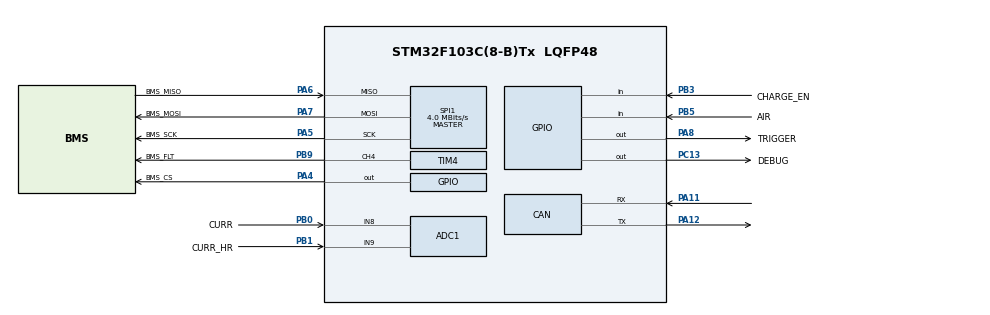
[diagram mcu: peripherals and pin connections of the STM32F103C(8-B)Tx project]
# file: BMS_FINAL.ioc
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ADC1.Channel-0\#ChannelRegularConversion=ADC_CHANNEL_8
ADC1.NbrOfConversionFlag=1
ADC1.Rank-0\#ChannelRegularConversion=1
ADC1.SamplingTime-0\#ChannelRegularConversion=ADC_SAMPLETIME_1CYCLE_5
ADC1.master=1
CAN.CalculateTimeBit=6000
CAN.CalculateTimeQuantum=2000.0
Mcu.Family=STM32F1
Mcu.Name=STM32F103C(8-B)Tx
Mcu.Package=LQFP48
NVIC.PriorityGroup=NVIC_PRIORITYGROUP_4
NVIC.TIM4_IRQn=true\:0\:0\:false\:false\:true\:true\:true
NVIC.USB_LP_CAN1_RX0_IRQn=true\:0\:0\:false\:false\:true\:true\:true
PA11.Mode=Master
PA11.Signal=CAN_RX
PA12.Mode=Master
PA12.Signal=CAN_TX
PA13.Signal=SYS_JTMS-SWDIO
PA14.Signal=SYS_JTCK-SWCLK
PA4.GPIO_Label=BMS_CS
PA4.Signal=GPIO_Output
PA5.GPIO_Label=BMS_SCK
PA5.Mode=Full_Duplex_Master
PA5.Signal=SPI1_SCK
PA6.GPIO_Label=BMS_MISO
PA6.Mode=Full_Duplex_Master
PA6.Signal=SPI1_MISO
PA7.GPIO_Label=BMS_MOSI
PA7.Mode=Full_Duplex_Master
PA7.Signal=SPI1_MOSI
PA8.GPIO_Label=TRIGGER
PA8.Signal=GPIO_Output
PB0.GPIO_Label=CURR
PB0.Signal=ADCx_IN8
PB1.GPIO_Label=CURR_HR
PB1.Signal=ADCx_IN9
PB3.GPIO_Label=CHARGE_EN
PB3.Signal=GPIO_Input
PB5.GPIO_Label=AIR
PB5.Signal=GPIO_Input
PB9.GPIO_Label=BMS_FLT
PB9.Signal=S_TIM4_CH4
PC13-TAMPER-RTC.GPIO_Label=DEBUG
PC13-TAMPER-RTC.Signal=GPIO_Output
PD1-OSC_OUT.GPIO_Label=FAN_PWM
PD1-OSC_OUT.Signal=RCC_OSC_OUT
ProjectManager.HeapSize=0x200
ProjectManager.StackSize=0x400
ProjectManager.TargetToolchain=Makefile
RCC.APB1Freq_Value=8000000
RCC.APB2Freq_Value=8000000
SH.ADCx_IN8.0=ADC1_IN8,IN8
SH.ADCx_IN9.0=ADC1_IN9,IN9
SH.S_TIM4_CH4.0=TIM4_CH4,Output Compare4 CH4
SPI1.CalculateBaudRate=4.0 MBits/s
SPI1.Direction=SPI_DIRECTION_2LINES
SPI1.Mode=SPI_MODE_MASTER
SPI1.VirtualType=VM_MASTER
TIM4.AutoReloadPreload=TIM_AUTORELOAD_PRELOAD_ENABLE
TIM4.Channel-Output\ Compare4\ CH4=TIM_CHANNEL_4
TIM4.OCMode_4=TIM_OCMODE_ACTIVE
TIM4.Period=6000
TIM4.Prescaler=40000
TIM4.Pulse-Output\ Compare4\ CH4=5000
TIM4.TIM_MasterOutputTrigger=TIM_TRGO_OC1REF
VP_SYS_VS_ND.Mode=No_Debug
VP_TIM2_VS_ClockSourceINT.Mode=Internal
VP_TIM4_VS_ClockSourceINT.Mode=Internal
board=custom

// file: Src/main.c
/* USER CODE BEGIN Header */
/**
  ******************************************************************************
  * @file           : main.c
  * @brief          : Main program body
  ******************************************************************************
  * @attention
  *
  * <h2><center>&copy; Copyright (c) 2019 STMicroelectronics.
  * All rights reserved.</center></h2>
  *
  * This software component is licensed by ST under BSD 3-Clause license,
  * the "License"; You may not use this file except in compliance with the
  * License. You may obtain a copy of the License at:
  *                        opensource.org/licenses/BSD-3-Clause
  *
  ******************************************************************************
  */
/* USER CODE END Header */

#include "main.h"

/* USER CODE BEGIN Includes */
#include "LTC6811.h"
/* USER CODE END Includes */

/* USER CODE BEGIN PD */
#define CELLVAL_ID      0x002
#define BMSSTAT_ID      0x003
#define BMSVINF_ID      0x004
#define BMSTINF_ID      0x005
#define PACKSTAT_ID     0x006
#define CHARGER_ID      0x02A

#define START           0
#define END             32
/* USER CODE END PD */

ADC_HandleTypeDef hadc1;

CAN_HandleTypeDef hcan;

SPI_HandleTypeDef hspi1;

TIM_HandleTypeDef htim2;
TIM_HandleTypeDef htim4;

/* USER CODE BEGIN PV */
CommandCodeTypedef      CommandCode;
BMSconfigStructTypedef  BMSconfig;

ADC_ChannelConfTypeDef sConfig = {0};

CAN_TxHeaderTypeDef     TxHeader;
CAN_RxHeaderTypeDef     RxHeader;
uint8_t                 TxData[8];
uint8_t                 RxData[8];
uint32_t                TxMailbox;

CAN_TxHeaderTypeDef     ChargerTxHeader;
uint8_t                 ChargerTxData[8];

uint8_t                 CELLVAL_DATA[6];
uint8_t                 BMSSTAT_DATA[6];

uint16_t volatile       minimum;
uint32_t                sumOfCells;
uint8_t                 chargeRate = 2;

/* USER CODE END PV */

void SystemClock_Config(void);
static void MX_GPIO_Init(void);
static void MX_ADC1_Init(void);
static void MX_CAN_Init(void);
static void MX_SPI1_Init(void);
static void MX_TIM2_Init(void);
static void MX_TIM4_Init(void);
/* USER CODE BEGIN PFP */
bool FAULT_check(BMSconfigStructTypedef cfg, uint8_t bmsData[96][6], uint8_t bmsStatus[6]);
void setDischarge(BMSconfigStructTypedef cfg, uint8_t bmsData[96][6], bool cellDischarge[12][8], bool bmsFault, bool fullDischarge[12][8]);
void checkDischarge(BMSconfigStructTypedef cfg, bool fullDischarge[12][8], uint8_t bmsData[96][6]);
uint16_t balancingThreshold(BMSconfigStructTypedef cfg);
void setChargerTxData(BMSconfigStructTypedef cfg);
void CELLVAL_message(BMSconfigStructTypedef cfg, uint8_t bmsData[96][6]);
void BMSVINF_message(BMSconfigStructTypedef cfg, uint8_t bmsData[96][6]);
void BMSTINF_message(BMSconfigStructTypedef cfg, uint8_t bmsData[96][6]);
void BMSSTAT_message(BMSconfigStructTypedef cfg, uint8_t bmsStatus[6]);
void PACKSTAT_message(BMSconfigStructTypedef cfg, uint8_t bmsData[96][6]);
/* USER CODE END PFP */

int main(void)
{

  /* MCU Configuration--------------------------------------------------------*/

  /* Reset of all peripherals, Initializes the Flash interface and the Systick. */
  HAL_Init();

  /* Configure the system clock */
  SystemClock_Config();

  /* Initialize all configured peripherals */
  MX_GPIO_Init();
  MX_ADC1_Init();
  MX_CAN_Init();
  MX_SPI1_Init();
  MX_TIM2_Init();
  MX_TIM4_Init();
  /* USER CODE BEGIN 2 */

  SPI_Init();
  initPECTable();
  loadConfig(&BMSconfig);

  uint8_t BMS_DATA[96][6];
  uint8_t BMS_STATUS[6];
  bool discharge[12][8];
  bool full_discharge[12][8];

  bool AIR = 0;
  bool CHARGE_EN = 0;
  bool BMS_FAULT = 0;

  /* USER CODE END 2 */

  /* Infinite loop */
  while (1)
  {

    /* USER CODE BEGIN 3 */

    //reset config registers
    writeConfigAll(BMSconfig);

    //wait 100ms
    HAL_Delay(100);

    //read all cell voltages, send BMSVINF message
    readAllCellVoltages(BMSconfig, BMS_DATA);
    BMSVINF_message(BMSconfig, BMS_DATA);

    //read all cell temps, send BMSTINF message
    readAllCellTemps(BMSconfig, BMS_DATA);
    BMSTINF_message(BMSconfig, BMS_DATA);

    checkAllCellConnections(BMSconfig, BMS_DATA);

    //if AIR and CHARGE_EN are low, pack is charging
    AIR = HAL_GPIO_ReadPin(GPIOB, AIR_Pin);
    CHARGE_EN = HAL_GPIO_ReadPin(GPIOB, CHARGE_EN_Pin);

    if(CHARGE_EN == 0){
      BMSconfig.UV_threshold = BMSconfig.LUV_threshold;
    } else {
      BMSconfig.UV_threshold = BMSconfig.HUV_threshold;
    }

    //check for faults (cell DC, cell OV, cell UV, cell OT, cell TDC, invalid PEC, no charger comm)
    BMS_FAULT = FAULT_check(BMSconfig, BMS_DATA, BMS_STATUS);

    if ((AIR == 0) && (CHARGE_EN == 0)) {

      if (chargeRate != 0)
        setDischarge(BMSconfig, BMS_DATA, discharge, BMS_FAULT, full_discharge);

      setChargerTxData(BMSconfig);

      if (chargeRate != 0) {
        dischargeCellGroups(BMSconfig, discharge);
        HAL_Delay(BMSconfig.dischargeTime);
      }
      else {
        checkDischarge(BMSconfig, full_discharge, BMS_DATA);
        dischargeCellGroups(BMSconfig, full_discharge);
        HAL_Delay(BMSconfig.dischargeTime);
      }
    }

    //send remaining CAN messages
    CELLVAL_message(BMSconfig, BMS_DATA);
    BMSSTAT_message(BMSconfig, BMS_STATUS);
    PACKSTAT_message(BMSconfig, BMS_DATA);

  }
  /* USER CODE END 3 */
}

void SystemClock_Config(void)
{
  RCC_OscInitTypeDef RCC_OscInitStruct = {0};
  RCC_ClkInitTypeDef RCC_ClkInitStruct = {0};
  RCC_PeriphCLKInitTypeDef PeriphClkInit = {0};

  /** Initializes the CPU, AHB and APB busses clocks
  */
  RCC_OscInitStruct.OscillatorType = RCC_OSCILLATORTYPE_HSI;
  RCC_OscInitStruct.HSIState = RCC_HSI_ON;
  RCC_OscInitStruct.HSICalibrationValue = RCC_HSICALIBRATION_DEFAULT;
  RCC_OscInitStruct.PLL.PLLState = RCC_PLL_NONE;
  if (HAL_RCC_OscConfig(&RCC_OscInitStruct) != HAL_OK)
  {
    Error_Handler();
  }
  /** Initializes the CPU, AHB and APB busses clocks
  */
  RCC_ClkInitStruct.ClockType = RCC_CLOCKTYPE_HCLK|RCC_CLOCKTYPE_SYSCLK
                              |RCC_CLOCKTYPE_PCLK1|RCC_CLOCKTYPE_PCLK2;
  RCC_ClkInitStruct.SYSCLKSource = RCC_SYSCLKSOURCE_HSI;
  RCC_ClkInitStruct.AHBCLKDivider = RCC_SYSCLK_DIV1;
  RCC_ClkInitStruct.APB1CLKDivider = RCC_HCLK_DIV1;
  RCC_ClkInitStruct.APB2CLKDivider = RCC_HCLK_DIV1;

  if (HAL_RCC_ClockConfig(&RCC_ClkInitStruct, FLASH_LATENCY_0) != HAL_OK)
  {
    Error_Handler();
  }
  PeriphClkInit.PeriphClockSelection = RCC_PERIPHCLK_ADC;
  PeriphClkInit.AdcClockSelection = RCC_ADCPCLK2_DIV2;
  if (HAL_RCCEx_PeriphCLKConfig(&PeriphClkInit) != HAL_OK)
  {
    Error_Handler();
  }
}

static void MX_ADC1_Init(void)
{

  ADC_ChannelConfTypeDef sConfig = {0};

  /** Common config
  */
  hadc1.Instance = ADC1;
  hadc1.Init.ScanConvMode = ADC_SCAN_DISABLE;
  hadc1.Init.ContinuousConvMode = DISABLE;
  hadc1.Init.DiscontinuousConvMode = DISABLE;
  hadc1.Init.ExternalTrigConv = ADC_SOFTWARE_START;
  hadc1.Init.DataAlign = ADC_DATAALIGN_RIGHT;
  hadc1.Init.NbrOfConversion = 1;
  if (HAL_ADC_Init(&hadc1) != HAL_OK)
  {
    Error_Handler();
  }
  /** Configure Regular Channel
  */
  sConfig.Channel = ADC_CHANNEL_8;
  sConfig.Rank = ADC_REGULAR_RANK_1;
  sConfig.SamplingTime = ADC_SAMPLETIME_1CYCLE_5;
  if (HAL_ADC_ConfigChannel(&hadc1, &sConfig) != HAL_OK)
  {
    Error_Handler();
  }

}

static void MX_CAN_Init(void)
{

  /* USER CODE BEGIN CAN_Init 1 */
  CAN_FilterTypeDef     sFilterConfig;
  /* USER CODE END CAN_Init 1 */
  hcan.Instance = CAN1;
  hcan.Init.Prescaler = 16;
  hcan.Init.Mode = CAN_MODE_NORMAL;
  hcan.Init.SyncJumpWidth = CAN_SJW_1TQ;
  hcan.Init.TimeSeg1 = CAN_BS1_1TQ;
  hcan.Init.TimeSeg2 = CAN_BS2_1TQ;
  hcan.Init.TimeTriggeredMode = DISABLE;
  hcan.Init.AutoBusOff = DISABLE;
  hcan.Init.AutoWakeUp = DISABLE;
  hcan.Init.AutoRetransmission = DISABLE;
  hcan.Init.ReceiveFifoLocked = DISABLE;
  hcan.Init.TransmitFifoPriority = DISABLE;
  if (HAL_CAN_Init(&hcan) != HAL_OK)
  {
    Error_Handler();
  }
  /* USER CODE BEGIN CAN_Init 2 */
  TxHeader.StdId = 0x321; 				// CAN standard ID
	TxHeader.ExtId = 0x01; 					// CAN extended ID
	TxHeader.RTR = CAN_RTR_DATA; 			// CAN frame type
	TxHeader.IDE = CAN_ID_STD; 				// CAN ID type
	TxHeader.DLC = 8; 						// CAN frame length in bytes
	TxHeader.TransmitGlobalTime = DISABLE;	// CAN timestamp in TxData[6] and TxData[7]

	ChargerTxHeader.ExtId = CHARGER_ID; 					// CAN extended ID
	ChargerTxHeader.RTR = CAN_RTR_DATA; 			// CAN frame type
	ChargerTxHeader.IDE = CAN_ID_STD; 				// CAN ID type
	ChargerTxHeader.DLC = 8; 						// CAN frame length in bytes
	ChargerTxHeader.TransmitGlobalTime = DISABLE;	// CAN timestamp in TxData[6] and TxData[7]

	sFilterConfig.FilterBank = 0;							// filter number (0-13)
	sFilterConfig.FilterMode = CAN_FILTERMODE_IDMASK;		// mask mode or identifier mode
	sFilterConfig.FilterScale = CAN_FILTERSCALE_32BIT;
	sFilterConfig.FilterIdHigh = 0x0000;					// received ID must match filter ID for each bit specified by filter mask
	sFilterConfig.FilterIdLow = 0x0000;
	sFilterConfig.FilterMaskIdHigh = 0x0000;				// specifies which bits of the received ID to compare to the filter ID
	sFilterConfig.FilterMaskIdLow = 0x0000;
	sFilterConfig.FilterFIFOAssignment = CAN_RX_FIFO0;		// receive FIFO (0 or 1, must match chosen interrupt!)
	sFilterConfig.FilterActivation = ENABLE;

	HAL_CAN_ConfigFilter(&hcan, &sFilterConfig);

  HAL_CAN_Start(&hcan);

  HAL_CAN_ActivateNotification(&hcan, CAN_IT_RX_FIFO0_MSG_PENDING);
  /* USER CODE END CAN_Init 2 */

}

static void MX_SPI1_Init(void)
{

  /* SPI1 parameter configuration*/
  hspi1.Instance = SPI1;
  hspi1.Init.Mode = SPI_MODE_MASTER;
  hspi1.Init.Direction = SPI_DIRECTION_2LINES;
  hspi1.Init.DataSize = SPI_DATASIZE_8BIT;
  hspi1.Init.CLKPolarity = SPI_POLARITY_LOW;
  hspi1.Init.CLKPhase = SPI_PHASE_1EDGE;
  hspi1.Init.NSS = SPI_NSS_SOFT;
  hspi1.Init.BaudRatePrescaler = SPI_BAUDRATEPRESCALER_2;
  hspi1.Init.FirstBit = SPI_FIRSTBIT_MSB;
  hspi1.Init.TIMode = SPI_TIMODE_DISABLE;
  hspi1.Init.CRCCalculation = SPI_CRCCALCULATION_DISABLE;
  hspi1.Init.CRCPolynomial = 10;
  if (HAL_SPI_Init(&hspi1) != HAL_OK)
  {
    Error_Handler();
  }

}

static void MX_TIM2_Init(void)
{

  TIM_ClockConfigTypeDef sClockSourceConfig = {0};
  TIM_MasterConfigTypeDef sMasterConfig = {0};

  htim2.Instance = TIM2;
  htim2.Init.Prescaler = 0;
  htim2.Init.CounterMode = TIM_COUNTERMODE_UP;
  htim2.Init.Period = 0;
  htim2.Init.ClockDivision = TIM_CLOCKDIVISION_DIV1;
  htim2.Init.AutoReloadPreload = TIM_AUTORELOAD_PRELOAD_DISABLE;
  if (HAL_TIM_Base_Init(&htim2) != HAL_OK)
  {
    Error_Handler();
  }
  sClockSourceConfig.ClockSource = TIM_CLOCKSOURCE_INTERNAL;
  if (HAL_TIM_ConfigClockSource(&htim2, &sClockSourceConfig) != HAL_OK)
  {
    Error_Handler();
  }
  sMasterConfig.MasterOutputTrigger = TIM_TRGO_RESET;
  sMasterConfig.MasterSlaveMode = TIM_MASTERSLAVEMODE_DISABLE;
  if (HAL_TIMEx_MasterConfigSynchronization(&htim2, &sMasterConfig) != HAL_OK)
  {
    Error_Handler();
  }
  /* USER CODE BEGIN TIM2_Init 2 */
  HAL_TIM_Base_Start(&htim2);
  /* USER CODE END TIM2_Init 2 */

}

static void MX_TIM4_Init(void)
{

  TIM_ClockConfigTypeDef sClockSourceConfig = {0};
  TIM_MasterConfigTypeDef sMasterConfig = {0};
  TIM_OC_InitTypeDef sConfigOC = {0};

  htim4.Instance = TIM4;
  htim4.Init.Prescaler = 40000;
  htim4.Init.CounterMode = TIM_COUNTERMODE_UP;
  htim4.Init.Period = 6000;
  htim4.Init.ClockDivision = TIM_CLOCKDIVISION_DIV1;
  htim4.Init.AutoReloadPreload = TIM_AUTORELOAD_PRELOAD_ENABLE;
  if (HAL_TIM_Base_Init(&htim4) != HAL_OK)
  {
    Error_Handler();
  }
  sClockSourceConfig.ClockSource = TIM_CLOCKSOURCE_INTERNAL;
  if (HAL_TIM_ConfigClockSource(&htim4, &sClockSourceConfig) != HAL_OK)
  {
    Error_Handler();
  }
  if (HAL_TIM_OC_Init(&htim4) != HAL_OK)
  {
    Error_Handler();
  }
  sMasterConfig.MasterOutputTrigger = TIM_TRGO_OC1REF;
  sMasterConfig.MasterSlaveMode = TIM_MASTERSLAVEMODE_DISABLE;
  if (HAL_TIMEx_MasterConfigSynchronization(&htim4, &sMasterConfig) != HAL_OK)
  {
    Error_Handler();
  }
  sConfigOC.OCMode = TIM_OCMODE_ACTIVE;
  sConfigOC.Pulse = 5000;
  sConfigOC.OCPolarity = TIM_OCPOLARITY_HIGH;
  sConfigOC.OCFastMode = TIM_OCFAST_DISABLE;
  if (HAL_TIM_OC_ConfigChannel(&htim4, &sConfigOC, TIM_CHANNEL_4) != HAL_OK)
  {
    Error_Handler();
  }
  HAL_TIM_MspPostInit(&htim4);

}

static void MX_GPIO_Init(void)
{
  GPIO_InitTypeDef GPIO_InitStruct = {0};

  /* GPIO Ports Clock Enable */
  __HAL_RCC_GPIOC_CLK_ENABLE();
  __HAL_RCC_GPIOD_CLK_ENABLE();
  __HAL_RCC_GPIOA_CLK_ENABLE();
  __HAL_RCC_GPIOB_CLK_ENABLE();

  /*Configure GPIO pin Output Level */
  HAL_GPIO_WritePin(DEBUG_GPIO_Port, DEBUG_Pin, GPIO_PIN_RESET);

  /*Configure GPIO pin Output Level */
  HAL_GPIO_WritePin(GPIOA, BMS_CS_Pin|TRIGGER_Pin, GPIO_PIN_RESET);

  /*Configure GPIO pin : DEBUG_Pin */
  GPIO_InitStruct.Pin = DEBUG_Pin;
  GPIO_InitStruct.Mode = GPIO_MODE_OUTPUT_PP;
  GPIO_InitStruct.Pull = GPIO_NOPULL;
  GPIO_InitStruct.Speed = GPIO_SPEED_FREQ_LOW;
  HAL_GPIO_Init(DEBUG_GPIO_Port, &GPIO_InitStruct);

  /*Configure GPIO pins : BMS_CS_Pin TRIGGER_Pin */
  GPIO_InitStruct.Pin = BMS_CS_Pin|TRIGGER_Pin;
  GPIO_InitStruct.Mode = GPIO_MODE_OUTPUT_PP;
  GPIO_InitStruct.Pull = GPIO_NOPULL;
  GPIO_InitStruct.Speed = GPIO_SPEED_FREQ_LOW;
  HAL_GPIO_Init(GPIOA, &GPIO_InitStruct);

  /*Configure GPIO pins : CHARGE_EN_Pin AIR_Pin */
  GPIO_InitStruct.Pin = CHARGE_EN_Pin|AIR_Pin;
  GPIO_InitStruct.Mode = GPIO_MODE_INPUT;
  GPIO_InitStruct.Pull = GPIO_NOPULL;
  HAL_GPIO_Init(GPIOB, &GPIO_InitStruct);

}

/* USER CODE BEGIN 4 */

/*void HAL_CAN_RxFifo0MsgPendingCallback(CAN_HandleTypeDef *CanHandle)
{
  HAL_CAN_GetRxMessage(&hcan, CAN_RX_FIFO0, &RxHeader, RxData);

  uint16_t ID = RxHeader.StdId;
  uint32_t ExtID = RxHeader.ExtId;

  //TESTING
  if (ID == 0x123) {

    //HAL_GPIO_TogglePin(GPIOC, DEBUG_Pin);
    voltageState = RxData[0];
  }
  //TESTING

  if (ExtID == CHARGER_ID) {
    TIM2->CNT = 0; // reset timer
    HAL_TIM_Base_Start(&htim2);
    RxHeader.ExtId = 0;
    //HAL_GPIO_TogglePin(GPIOC, DEBUG_Pin);
    HAL_GPIO_WritePin(GPIOC, DEBUG_Pin, GPIO_PIN_SET);
  }
}*/

bool FAULT_check(BMSconfigStructTypedef cfg, uint8_t bmsData[96][6], uint8_t bmsStatus[6]) {

  bool BMS_FAULT = false;
  uint16_t cellVoltage;
  bool cellConnection;
  bool dataValid;
  bool OT_fault;
  bool DC_fault;
  uint8_t board;
  uint8_t error_count[cfg.numOfICs];

  bmsStatus[0] = 0;

  for (uint8_t cell = START; cell < END; cell++) {

    cellVoltage = 0;
    cellVoltage = (uint16_t) (bmsData[cell][2]);
    cellVoltage = cellVoltage << 8;
		cellVoltage += (uint16_t) (bmsData[cell][3]);

    cellConnection = (bool) (bmsData[cell][1] & 0x01);
    dataValid = (bool) ((bmsData[cell][1] & 0x02) >> 1);
    OT_fault = (bool) ((bmsData[cell][1] & 0x10) >> 4);
    DC_fault = (bool) ((bmsData[cell][1] & 0x08) >> 3);

    //OV fault
    if (cellVoltage > cfg.OV_threshold) {
      BMS_FAULT = true;
      bmsStatus[0] |= 0x01; //fault byte
      bmsStatus[1] = cell + 1; //OV cell number
    }

    //UV fault
    if (cellVoltage < cfg.UV_threshold) {
      BMS_FAULT = true;
      bmsStatus[0] |= 0x02; //fault byte
      bmsStatus[2] = cell + 1; //UV cell number
    }

    //Cell DC fault
    if (cellConnection == 0) {
      BMS_FAULT = true;
      bmsStatus[0] |= 0x80; //fault byte
      bmsStatus[4] = cell + 1; //DC cell number
    }

    //OT fault
    if (OT_fault == 1) {
      BMS_FAULT = true;
      bmsStatus[0] |= 0x04; //fault byte
      bmsStatus[3] = cell + 1; //OT cell number
    }

    board = cell / cfg.numOfCellsPerIC;

    //Board DC fault
    if (dataValid == 0) {
      error_count[board]++;

      //if data is invalid for a board, every cell will report invalid
      if (error_count[board] > (cfg.numOfCellsPerIC * cfg.invalidPECcount)) {
        BMS_FAULT = true;
        bmsStatus[0] |= 0x20;
      }
    }
    if (dataValid == 1) {
      error_count[board] = 0;
    }

    if (cell == 66 || cell == 67){
      DC_fault = 0;
    }
        //Temp DC fault
    if (DC_fault == 1) {
      BMS_FAULT = true;
      bmsStatus[0] |= 0x10;
      bmsStatus[5] = cell + 1;
    }

    //Charger comm fault
    /*count = TIM2->CNT;

    if (count > 20000) {
      BMS_FAULT = true;
      HAL_TIM_Base_Stop(&htim2);
    }*/
  }

  if (BMS_FAULT == false)
    HAL_GPIO_WritePin(GPIOB, BMS_FLT_Pin, GPIO_PIN_RESET);
  if (BMS_FAULT == true)
    HAL_GPIO_WritePin(GPIOB, BMS_FLT_Pin, GPIO_PIN_SET);

  return BMS_FAULT;
}

void setDischarge(BMSconfigStructTypedef cfg, uint8_t bmsData[96][6], bool cellDischarge[12][8], bool bmsFault, bool fullDischarge[12][8]) {

  uint16_t threshold;
  uint16_t cellVoltage;
  uint8_t board;
  uint8_t cell;
	chargeRate = 2; // initialize the charging current to normal operation

  // if there is any type of fault, stop charging
  // if (bmsFault) {
  //   chargeRate = 0;
  //   //return 0;
  // }

  for (uint8_t i = START; i < END; i++) {

    cellVoltage = 0;
    cellVoltage = (uint16_t) (bmsData[i][2]);
    cellVoltage = cellVoltage << 8;
		cellVoltage += (uint16_t) (bmsData[i][3]);
    if (cellVoltage == 65535) continue;

    board = i / cfg.numOfCellsPerIC;
    cell = i % cfg.numOfCellsPerIC;
    if(minimum == 0) {
      cellDischarge[board][cell] = 0;
      continue;
    }
    // cellDischarge[board][cell] = 1;

    bmsData[i][1] &= 0x5F; //charging state = 2

    // if any cell voltage is much greater than the minimum (>200mV), stop charging and discharge that cell to the minimum
    // if (cellVoltage > (minimum + cfg.max_difference)) {
    //   chargeRate = 0;
    //   fullDischarge[board][cell] = 1;
    //   bmsData[i][1] &= 0x7F; //charging state = 3
    // }
    // if any cell voltage is greater than some absolute threshold (4.18V), stop charging and discharge that cell to the minimum
    // could discharge to a fixed value (4.15V) instead
    if (cellVoltage > cfg.stopCharge_threshold) {
      chargeRate = 0;
      fullDischarge[board][cell] = 1;
      bmsData[i][1] &= 0x9F; //charging state = 4
    }

    // if still charging AND cells above ~3V
    if ((chargeRate != 0)/* && (minimum > 30000)*/) {

      // if any cell is above some absolute threshold, charge slower
      if (cellVoltage > cfg.slowCharge_threshold)
        chargeRate = 1;

      // determine the relative balancing threshold based on minimum voltage
      threshold = balancingThreshold(cfg);

      if (cellVoltage > (minimum + threshold)) {
        cellDischarge[board][cell] = 1;
        bmsData[i][1] &= 0x2F; //charging state = 1
      }
      else {
        cellDischarge[board][cell] = 0;
        bmsData[i][1] &= 0x1F; //charging state = 0
      }
    }
	}
  minimum = 0;
}

uint16_t balancingThreshold(BMSconfigStructTypedef cfg) {

  if (minimum > cfg.start_scaling) {
    // min1 = 4.1V   threshold1 = 50mV
    // min2 = 4.16V  threshold2 = 10mV

    // m = (threshold2 - threshold1) / (min2 - min1)
    // linear = m * (minimum - min1) + threshold1

    float m;
    uint16_t linear;

    //  ()
    m = ((float) (cfg.scale_to - cfg.balancing_difference)) / (cfg.stop_scaling - cfg.start_scaling);
    linear = (uint16_t) m * (minimum - cfg.start_scaling) + cfg.balancing_difference;

    return linear;

  }
  if (minimum <= cfg.start_scaling)
    return cfg.balancing_difference;

  return 0;

}

void checkDischarge(BMSconfigStructTypedef cfg, bool fullDischarge[12][8], uint8_t bmsData[96][6]) {

  uint8_t sum = 0;
  uint16_t cellVoltage;
  uint8_t board;
  uint8_t cell;

  for (uint8_t i = START; i < END; i++) {

    cellVoltage = 0;
    cellVoltage = (uint16_t) (bmsData[i][2]);
    cellVoltage = cellVoltage << 8;
		cellVoltage += (uint16_t) (bmsData[i][3]);

    board = i / cfg.numOfCellsPerIC;
    cell = i % cfg.numOfCellsPerIC;

    if (fullDischarge[board][cell] == 1) {
      if (cellVoltage <= minimum) {
        fullDischarge[board][cell] = 0;
        bmsData[i][1] &= 0x5F; //reset charging state to 2
      }
      else
        sum += 1;
    }
  }

  if (sum == 0)
    chargeRate = 2;

}

void setChargerTxData(BMSconfigStructTypedef cfg) {

  ChargerTxHeader.StdId = CHARGER_ID;
  ChargerTxHeader.DLC = 8;

	/* voltage data (hex value of desired voltage (V) times 10)*/
	ChargerTxData[0] = (uint8_t)((cfg.chargerVoltage >> 8) & 0xFF);
	ChargerTxData[1] = (uint8_t)(cfg.chargerVoltage & 0xFF);

	/* set the current data (hex value of desired current (A) times 10) */
	switch (chargeRate) {
		case 1:
			/* lower current */
			ChargerTxData[2] = (uint8_t)((cfg.lowerCurrent>> 8) & 0xFF);
			ChargerTxData[3] = (uint8_t)(cfg.lowerCurrent & 0xFF);
			break;

		case 2:
			/* normal current */
			ChargerTxData[2] = (uint8_t)((cfg.normalCurrent >> 8) & 0xFF);
			ChargerTxData[3] = (uint8_t)(cfg.normalCurrent & 0xFF);
			break;

		default:
			/* no current */
			ChargerTxData[2] = 0x00;
			ChargerTxData[3] = 0x00;
	}

	/* these data bytes are not used */
	ChargerTxData[4] = 0x00;
	ChargerTxData[5] = 0x00;
	ChargerTxData[6] = 0x00;
	ChargerTxData[7] = 0x00;

  HAL_CAN_AddTxMessage(&hcan, &ChargerTxHeader, ChargerTxData, &TxMailbox);
}

void CELLVAL_message(BMSconfigStructTypedef cfg, uint8_t bmsData[96][6]) {

  TxHeader.StdId = CELLVAL_ID;
  TxHeader.DLC = 6;

  for (uint8_t cell = START; cell < END; cell++) {
    CELLVAL_DATA[0] = bmsData[cell][0];
    CELLVAL_DATA[1] = bmsData[cell][1];
    CELLVAL_DATA[2] = bmsData[cell][2];
    CELLVAL_DATA[3] = bmsData[cell][3];
    CELLVAL_DATA[4] = bmsData[cell][4];
    CELLVAL_DATA[5] = bmsData[cell][5];

    HAL_CAN_AddTxMessage(&hcan, &TxHeader, CELLVAL_DATA, &TxMailbox);
    HAL_Delay(10);

  }
}

void BMSSTAT_message(BMSconfigStructTypedef cfg, uint8_t bmsStatus[6]) {

  TxHeader.StdId = BMSSTAT_ID;
  TxHeader.DLC = 6;

  HAL_CAN_AddTxMessage(&hcan, &TxHeader, bmsStatus, &TxMailbox);
}

void BMSVINF_message(BMSconfigStructTypedef cfg, uint8_t bmsData[96][6]) {

  uint16_t cellVoltage;
  uint16_t minV = 0xFFFF;
  uint8_t minCell;
  uint16_t maxV = 0x0000;
  uint8_t maxCell;
  uint16_t averageV;
  uint32_t sum = 0;

  for (uint8_t cell = START; cell < END; cell++) {

    cellVoltage = 0;
    cellVoltage = (uint16_t) (bmsData[cell][2]);
    cellVoltage = cellVoltage << 8;
		cellVoltage += (uint16_t) (bmsData[cell][3]);

    if (cellVoltage < minV) {
      minV = cellVoltage;
      minCell = cell + 1;
    }

    if (cellVoltage > maxV) {
      maxV = cellVoltage;
      maxCell = cell + 1;
    }

    sum += cellVoltage;
  }

  sumOfCells = sum;
  //minimum = minV;
  averageV = (uint16_t) (sum / (cfg.numOfICs * cfg.numOfCellsPerIC));

  TxHeader.StdId = BMSVINF_ID;
  TxHeader.DLC = 8;
  uint8_t BMSVINF_DATA[8];

  BMSVINF_DATA[0] = (uint8_t) ((maxV >> 8) & 0xFF);
  BMSVINF_DATA[1] = (uint8_t) (maxV & 0xFF);
  BMSVINF_DATA[2] = maxCell;
  BMSVINF_DATA[3] = (uint8_t) ((minV >> 8) & 0xFF);
  BMSVINF_DATA[4] = (uint8_t) (minV & 0xFF);
  BMSVINF_DATA[5] = minCell;
  BMSVINF_DATA[6] = (uint8_t) ((averageV >> 8) & 0xFF);
  BMSVINF_DATA[7] = (uint8_t) (averageV & 0xFF);

  HAL_CAN_AddTxMessage(&hcan, &TxHeader, BMSVINF_DATA, &TxMailbox);

}

void BMSTINF_message(BMSconfigStructTypedef cfg, uint8_t bmsData[96][6]) {

  uint16_t cellTemp;
  uint16_t minT = 0xFFFF;
  uint8_t minCell;
  uint16_t maxT = 0x0000;
  uint8_t maxCell;
  uint16_t averageT;
  uint32_t sum = 0;

  for (uint8_t cell = START; cell < END; cell++) {

    cellTemp = 0;
    cellTemp = (uint16_t) (bmsData[cell][4]);
    cellTemp = cellTemp << 8;
		cellTemp += (uint16_t) (bmsData[cell][5]);

    if (cellTemp < minT) {
      minT = cellTemp;
      minCell = cell + 1;
    }

    if (cellTemp > maxT) {
      maxT = cellTemp;
      maxCell = cell + 1;
    }

    sum += cellTemp;
  }

  averageT = (uint16_t) (sum / (cfg.numOfICs * cfg.numOfTempPerIC));

  TxHeader.StdId = BMSTINF_ID;
  TxHeader.DLC = 8;
  uint8_t BMSTINF_DATA[8];

  BMSTINF_DATA[0] = (uint8_t) ((maxT >> 8) & 0xFF);
  BMSTINF_DATA[1] = (uint8_t) (maxT & 0xFF);
  BMSTINF_DATA[2] = maxCell;
  BMSTINF_DATA[3] = (uint8_t) ((minT >> 8) & 0xFF);
  BMSTINF_DATA[4] = (uint8_t) (minT & 0xFF);
  BMSTINF_DATA[5] = minCell;
  BMSTINF_DATA[6] = (uint8_t) ((averageT >> 8) & 0xFF);
  BMSTINF_DATA[7] = (uint8_t) (averageT & 0xFF);

  HAL_CAN_AddTxMessage(&hcan, &TxHeader, BMSTINF_DATA, &TxMailbox);

  //Insert PWM code
};

void PACKSTAT_message(BMSconfigStructTypedef cfg, uint8_t bmsData[96][6]) {

  uint16_t channel1;
  uint16_t channel2;
  uint16_t pack_voltage;

  // +/- 20A (high res, channel 1)
  sConfig.Channel = ADC_CHANNEL_9;
	sConfig.Rank = ADC_REGULAR_RANK_1;
	sConfig.SamplingTime = ADC_SAMPLETIME_71CYCLES_5;
	HAL_ADC_ConfigChannel(&hadc1, &sConfig);

	HAL_ADC_Start(&hadc1);
	HAL_ADC_PollForConversion(&hadc1, 1000);
	channel1 = HAL_ADC_GetValue(&hadc1);
	HAL_ADC_Stop(&hadc1);

  // +/- 500A (full range, channel 2)
  sConfig.Channel = ADC_CHANNEL_8;
	sConfig.Rank = ADC_REGULAR_RANK_1;
	sConfig.SamplingTime = ADC_SAMPLETIME_71CYCLES_5;
	HAL_ADC_ConfigChannel(&hadc1, &sConfig);

	HAL_ADC_Start(&hadc1);
	HAL_ADC_PollForConversion(&hadc1, 1000);
	channel2 = HAL_ADC_GetValue(&hadc1);
	HAL_ADC_Stop(&hadc1);

  pack_voltage = (uint16_t) sumOfCells / 64;

  TxHeader.StdId = PACKSTAT_ID;
  TxHeader.DLC = 6;
  uint8_t PACKSTAT_DATA[6];

  PACKSTAT_DATA[0] = (uint8_t) ((pack_voltage >> 8) & 0xFF);
  PACKSTAT_DATA[1] = (uint8_t) (pack_voltage & 0xFF);
  PACKSTAT_DATA[2] = (uint8_t) ((channel1 >> 8) & 0xFF);
  PACKSTAT_DATA[3] = (uint8_t) (channel1 & 0xFF);
  PACKSTAT_DATA[4] = (uint8_t) ((channel2 >> 8) & 0xFF);
  PACKSTAT_DATA[5] = (uint8_t) (channel2 & 0xFF);

  HAL_CAN_AddTxMessage(&hcan, &TxHeader, PACKSTAT_DATA, &TxMailbox);

}

void HAL_CAN_RxFifo0MsgPendingCallback(CAN_HandleTypeDef *CanHandle)
{
  /* Get RX message */
  HAL_CAN_GetRxMessage(&hcan, CAN_RX_FIFO0, &RxHeader, RxData);
  if(RxHeader.StdId == 0x001)
  {
    minimum = RxData[0];
    minimum = minimum << 8;
    minimum += (uint16_t) RxData[1];

    HAL_GPIO_TogglePin(DEBUG_GPIO_Port, DEBUG_Pin);
  }
}

/* USER CODE END 4 */

void Error_Handler(void)
{
}

/************************ (C) COPYRIGHT STMicroelectronics *****END OF FILE****/
